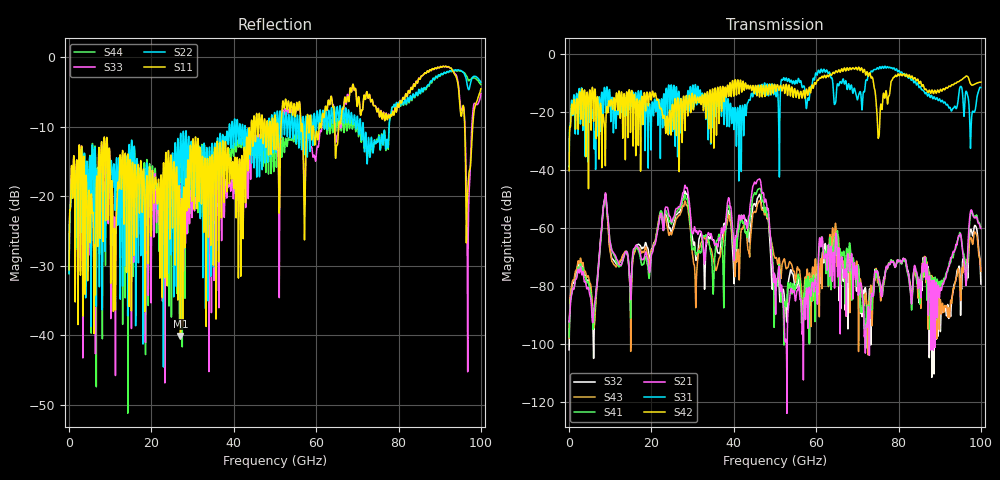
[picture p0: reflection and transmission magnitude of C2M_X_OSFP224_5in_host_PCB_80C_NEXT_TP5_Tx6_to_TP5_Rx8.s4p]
# GHz S RI R 45
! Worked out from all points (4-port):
!   4000 points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, 25 MHz to 100 GHz, reference 45 ohm
!   strongest paths, dB at 25 MHz, 25.02 GHz, 50.02 GHz, 75.03 GHz, 100 GHz:
!     S42: -40.4, -18.0, -11.1, -28.7, -9.9
!     S31: -39.0, -15.9, -10.9, -5.2, -11.7
!     S21: -92.5, -57.8, -79.9, -77.0, -60.3
!     S41: -97.7, -58.3, -82.1, -76.8, -60.0
!     S43: -98.2, -61.8, -70.6, -78.4, -75.1
!     S32: -102.2, -61.1, -77.4, -75.9, -79.5
!   lowest |S11| = -40.1 dB at 27.05 GHz (marker M1), VSWR 1.02, Z = 45.8 - j0.496 ohm
!   |S11| at or under -10 dB: start of sweep to 44.22 GHz; 59.34 GHz to 60.74 GHz (1.403 GHz wide, 2.34 % of centre); 96.08 GHz to 98.01 GHz (1.929 GHz wide, 1.99 % of centre)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
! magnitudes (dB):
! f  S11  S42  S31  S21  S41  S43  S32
! 25 MHz  -30.6  -40.4  -39.0  -92.5  -97.7  -98.2  -102.2
! 8.675 GHz  -12.5  -26.2  -12.2  -49.7  -50.2  -50.2  -49.9
! 27.05 GHz  -40.1  -15.8  -20.4  -52.1  -52.9  -55.1  -53.9
! 34.98 GHz  -20.9  -13.5  -25.6  -64.4  -82.4  -70.8  -64.3
! 46.12 GHz  -8.3  -13.0  -11.2  -43.3  -46.7  -51.0  -48.9
! 51.75 GHz  -7.2  -12.8  -9.1  -81.9  -83.3  -72.6  -82.4
! 100 GHz  -4.6  -9.9  -11.7  -60.3  -60.0  -75.1  -79.5
